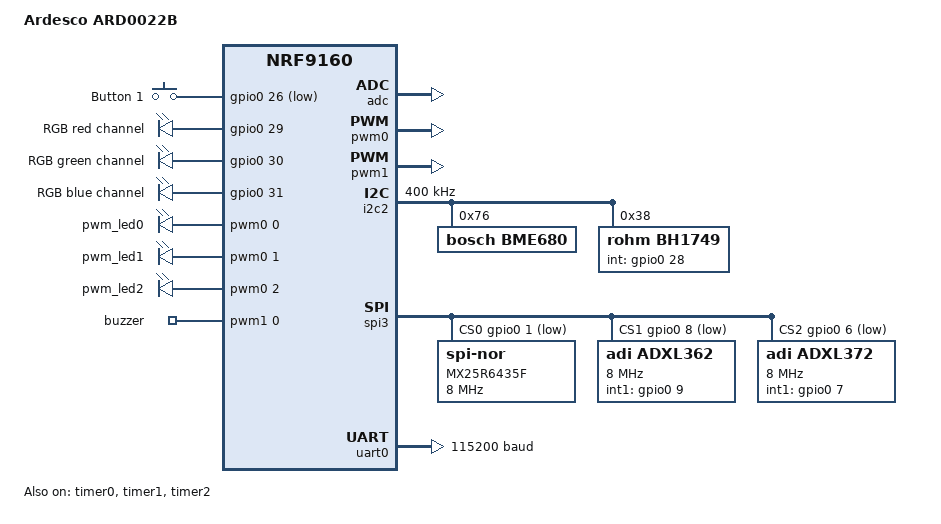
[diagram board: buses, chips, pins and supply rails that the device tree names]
//
// Copyright (c) .NET Foundation and Contributors
// Portions Copyright (c) 2019 Nordic Semiconductor ASA
// Portions Copyright (c) Ericsson AB 2020, all rights reserved
// See LICENSE file in the project root for full license information.
//

#include "nrf9160_ard0022B_common-pinctrl.dtsi"

/ {
	model = "Ardesco ARD0022B";
	compatible = "nordic,ard0022B";

	chosen {
		zephyr,console = &uart0;
		zephyr,shell-uart = &uart0;
		zephyr,uart-mcumgr = &uart0;
	};

	buttons {
		compatible = "gpio-keys";

		button0: button_0 {
			gpios = <&gpio0 26 (GPIO_PULL_UP | GPIO_ACTIVE_LOW)>;
			label = "Button 1";
		};
	};

	leds {
		compatible = "gpio-leds";
		red_led: led_1 {
			gpios = <&gpio0 29 0>;
			label = "RGB red channel";
		};
		green_led: led_2 {
			gpios = <&gpio0 30 0>;
			label = "RGB green channel";
		};
		blue_led: led_3 {
			gpios = <&gpio0 31 0>;
			label = "RGB blue channel";
		};
	};
	pwmleds {
		compatible = "pwm-leds";
		pwm_led0: pwm_led_0 {
			pwms = <&pwm0 0 PWM_MSEC(20) PWM_POLARITY_NORMAL>;
		};
		pwm_led1: pwm_led_1 {
			pwms = <&pwm0 1 PWM_MSEC(20) PWM_POLARITY_NORMAL>;
		};
		pwm_led2: pwm_led_2 {
			pwms = <&pwm0 2 PWM_MSEC(20) PWM_POLARITY_NORMAL>;
		};

	};
	pwmbuzzer {
		/* compatible = "pwm-buzzer"; this doesn't work */ 
		compatible = "pwm-leds"; 

		buzzer: pwm_buzzer {
			pwms = <&pwm1 0 PWM_HZ(100) PWM_POLARITY_NORMAL>;
		};
	};

	aliases {
		sw0 = &button0;
		led0 = &red_led;
		led1 = &green_led;
		led2 = &blue_led;
		pwm-led0 = &pwm_led0;
		pwm-led1 = &pwm_led1;
		pwm-led2 = &pwm_led2;
		rgb-pwm = &pwm0;
		/* to reference the buzzer, use the macro DT_ALIAS(buzzer_pwm) with the _ not the - */
		buzzer-pwm = &buzzer;
	};
};

&adc {
	status = "okay";
};

&gpiote {
	status = "okay";
};

&gpio0 {
	status = "okay";
};

/* PWM0 is intended for RGB LED control */
&pwm0 {
	status = "okay";
	pinctrl-0 = <&pwm0_default>;
	pinctrl-1 = <&pwm0_sleep>;
	pinctrl-names = "default", "sleep";
};

/* PWM1 is intended for buzzer control */
&pwm1 {
	status = "okay";
	pinctrl-0 = <&pwm1_default>;
	pinctrl-1 = <&pwm1_sleep>;
	pinctrl-names = "default", "sleep";
};

/*
&pwm2 {
	status = "okay";
	pinctrl-0 = <&pwm2_default>;
	pinctrl-1 = <&pwm2_sleep>;
	pinctrl-names = "default", "sleep";
};
*/

&i2c2 {
	compatible = "nordic,nrf-twim";
	status = "okay";
	clock-frequency = <I2C_BITRATE_FAST>;

	pinctrl-0 = <&i2c2_default>;
	pinctrl-1 = <&i2c2_sleep>;
	pinctrl-names = "default", "sleep";

	bme680@76 {
		compatible = "bosch,bme680";
		label = "BME680";
		reg = <0x76>;
	};

	bh1749@38 {
			compatible = "rohm,bh1749";
			label = "BH1749";
			reg = <0x38>;
			int-gpios = <&gpio0 28 0>;
	};
};

&spi3 {
	compatible = "nordic,nrf-spim";
	status = "okay";
	pinctrl-0 = <&spi3_default>;
	pinctrl-1 = <&spi3_sleep>;
	pinctrl-names = "default", "sleep";
/*	cs-gpios = <&gpio0 1 0>, <&gpio0 8 0>, <&gpio0 6 0>;*/
	cs-gpios = <&gpio0 1 (GPIO_PULL_UP | GPIO_ACTIVE_LOW)>, <&gpio0 8 (GPIO_PULL_UP | GPIO_ACTIVE_LOW)>, <&gpio0 6 (GPIO_PULL_UP | GPIO_ACTIVE_LOW)>; 
/*	cs-gpios = <&gpio0 1 0>, <&gpio0 8 (GPIO_PULL_UP | GPIO_ACTIVE_LOW)>, <&gpio0 6 (GPIO_PULL_UP | GPIO_ACTIVE_LOW)>; */

	mx25r64: mx25r6435f@0 {
		compatible = "jedec,spi-nor";
		label = "MX25R6435F";
		spi-max-frequency = <8000000>;
		reg = <0>;
		/* spi-max-frequency = <104000000>; */
		/* wp-gpios = <&gpio0 3 0>; */
		/* reset-gpios = <&gpio0 0 0>; */
		size = <0x4000000>;
		/* has-be32k; */
		jedec-id = [c2 28 17];
	};

	adxl362@1 {
		compatible = "adi,adxl362";
		label = "ADXL362";
		spi-max-frequency = <8000000>;
		reg = <1>;
		int1-gpios = <&gpio0 9 0>;
	};

	adxl372@2 {
		compatible = "adi,adxl372";
		label = "ADXL372";
		spi-max-frequency = <8000000>;
		reg = <2>;
		int1-gpios = <&gpio0 7 0>;
	};

};


&timer0 {
	status = "okay";
};

&timer1 {
	status = "okay";
};

&timer2 {
	status = "okay";
};

&uart0 {
	compatible = "nordic,nrf-uarte";
	current-speed = <115200>;
	status = "okay";
	pinctrl-0 = <&uart0_default>;
	pinctrl-1 = <&uart0_sleep>;
	pinctrl-names = "default", "sleep";
};

&flash0 {
	/*
	 * For more information, see:
	 * http://docs.zephyrproject.org/devices/dts/flash_partitions.html
	 */
	partitions {
		compatible = "fixed-partitions";
		#address-cells = <1>;
		#size-cells = <1>;

		boot_partition: partition@0 {
			label = "mcuboot";
			reg = <0x00000000 0x10000>;
		};
		slot0_partition: partition@10000 {
			label = "image-0";
		};
		slot0_ns_partition: partition@40000 {
			label = "image-0-nonsecure";
		};
		slot1_partition: partition@80000 {
			label = "image-1";
		};
		slot1_ns_partition: partition@b0000 {
			label = "image-1-nonsecure";
		};
		scratch_partition: partition@f0000 {
			label = "image-scratch";
			reg = <0x000f0000 0xa000>;
		};
		storage_partition: partition@fa000 {
			label = "storage";
			reg = <0x000fa000 0x00006000>;
		};
	};
};

/ {
	/* SRAM allocated and used by the partitions */
	reserved-memory {
		#address-cells = <1>;
		#size-cells = <1>;
		ranges;

		sram0_s: image_s@20000000 {
			/* Secure image memory */
		};

		sram0_bsd: image_bsd@20010000 {
			/* BSD (shared) memory */
		};

		sram0_ns: image_ns@20020000 {
			/* Non-Secure image memory */
		};
	};
};

/* Include partition configuration file */
#include "nrf9160_ard0022B_partition_conf.dts"
